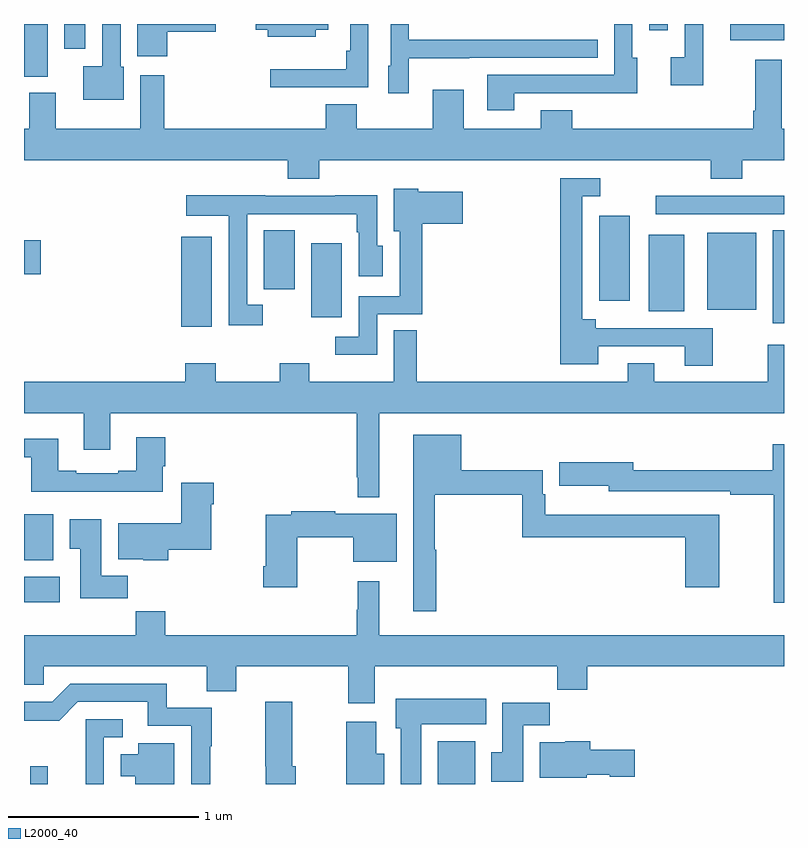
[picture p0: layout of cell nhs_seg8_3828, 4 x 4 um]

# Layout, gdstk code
import gdstk
lib = gdstk.Library(unit=1e-6, precision=1e-09)
def R(c, l, rs):  # rectangles x0, y0, x1, y1
    for r in rs: c.add(gdstk.rectangle(r[:2], r[2:], *l))
def P(c, l, *ps):  # polygons
    for p in ps: c.add(gdstk.Polygon(p, *l))
L2000_40 = (2000, 40)

nhs_seg8_3828 = lib.new_cell('nhs_seg8_3828')
R(nhs_seg8_3828, L2000_40, [(347.032,1095.9,347.126,1095.993), (349.178,1095.9,349.375,1096.126), (347,1096.856,347.188,1096.99), (347,1097.078,347.155,1097.32), (347.828,1098.306,347.989,1098.781), (350.942,1098.324,351,1098.815), (348.512,1098.356,348.673,1098.745), (350.288,1098.389,350.476,1098.79), (350.597,1098.395,350.854,1098.802), (350.027,1098.444,350.188,1098.892), (348.263,1098.504,348.424,1098.815), (347,1098.584,347.089,1098.762), (350.325,1098.9,351,1098.996), (347,1099.622,347.125,1099.9), (347.213,1099.77,347.323,1099.9), (350.717,1099.814,351,1099.9), (350.292,1099.866,350.388,1099.9)])
P(nhs_seg8_3828, L2000_40, [(349.579,1099.536),(350.009,1099.536),(350.009,1099.535),(350.227,1099.535),(350.227,1099.722),(350.202,1099.722),(350.202,1099.9),(350.106,1099.9),(350.106,1099.632),(349.439,1099.632),(349.439,1099.446),(349.579,1099.446)],
  [(348.535,1099.871),(348.601,1099.871),(348.601,1099.9),(348.221,1099.9),(348.221,1099.871),(348.284,1099.871),(348.284,1099.832),(348.535,1099.832)],
  [(348.813,1099.9),(348.717,1099.9),(348.717,1099.759),(348.697,1099.759),(348.697,1099.663),(348.297,1099.663),(348.297,1099.566),(348.813,1099.566)],
  [(350.575,1099.9),(350.478,1099.9),(350.478,1099.726),(350.403,1099.726),(350.403,1099.578),(350.575,1099.578)],
  [(347.754,1099.859),(348.01,1099.859),(348.01,1099.9),(347.597,1099.9),(347.597,1099.731),(347.754,1099.731)],
  [(349.026,1099.721),(349.343,1099.721),(349.343,1099.722),(350.021,1099.722),(350.021,1099.818),(349.026,1099.818),(349.026,1099.9),(348.93,1099.9),(348.93,1099.68),(348.917,1099.68),(348.917,1099.536),(349.026,1099.536)],
  [(347.524,1099.674),(347.508,1099.674),(347.508,1099.9),(347.412,1099.9),(347.412,1099.678),(347.312,1099.678),(347.312,1099.502),(347.524,1099.502)],
  [(348.554,1099.184),(350.615,1099.184),(350.615,1099.085),(350.78,1099.085),(350.78,1099.184),(351,1099.184),(351,1099.348),(350.989,1099.348),(350.989,1099.711),(350.849,1099.711),(350.849,1099.444),(350.837,1099.444),(350.837,1099.348),(349.885,1099.348),(349.885,1099.447),(349.721,1099.447),(349.721,1099.348),(349.315,1099.348),(349.315,1099.555),(349.151,1099.555),(349.151,1099.348),(348.751,1099.348),(348.751,1099.477),(348.587,1099.477),(348.587,1099.348),(347.738,1099.348),(347.738,1099.63),(347.612,1099.63),(347.612,1099.348),(347.167,1099.348),(347.167,1099.537),(347.027,1099.537),(347.027,1099.348),(347,1099.348),(347,1099.184),(348.389,1099.184),(348.389,1099.085),(348.554,1099.085)],
  [(350.625,1098.3),(350.008,1098.3),(350.008,1098.346),(349.938,1098.346),(349.938,1098.993),(350.032,1098.993),(350.032,1099.089),(349.822,1099.089),(349.822,1098.11),(350.023,1098.11),(350.023,1098.204),(350.477,1098.204),(350.477,1098.102),(350.625,1098.102)],
  [(348.858,1098.372),(349.096,1098.372),(349.096,1098.848),(349.309,1098.848),(349.309,1099.018),(349.074,1099.018),(349.074,1099.033),(348.947,1099.033),(348.947,1098.809),(348.977,1098.809),(348.977,1098.468),(348.762,1098.468),(348.762,1098.255),(348.639,1098.255),(348.639,1098.158),(348.858,1098.158)],
  [(348.256,1098.423),(348.174,1098.423),(348.174,1098.9),(348.52,1098.9),(348.52,1098.899),(348.75,1098.899),(348.75,1098.803),(348.762,1098.803),(348.762,1098.573),(348.889,1098.573),(348.889,1098.732),(348.858,1098.732),(348.858,1098.998),(348.637,1098.998),(348.637,1098.996),(348.271,1098.996),(348.271,1098.998),(347.853,1098.998),(347.853,1098.89),(348.078,1098.89),(348.078,1098.315),(348.256,1098.315)],
  [(348.871,1097.852),(351,1097.852),(351,1098.211),(350.914,1098.211),(350.914,1098.016),(350.317,1098.016),(350.317,1098.115),(350.177,1098.115),(350.177,1098.016),(349.066,1098.016),(349.066,1098.287),(348.947,1098.287),(348.947,1098.016),(348.501,1098.016),(348.501,1098.115),(348.346,1098.115),(348.346,1098.016),(348.009,1098.016),(348.009,1098.115),(347.849,1098.115),(347.849,1098.016),(347,1098.016),(347,1097.852),(347.315,1097.852),(347.315,1097.658),(347.455,1097.658),(347.455,1097.852),(348.75,1097.852),(348.75,1097.515),(348.756,1097.515),(348.756,1097.408),(348.871,1097.408)],
  [(349.171,1097.133),(349.163,1097.133),(349.163,1097.422),(349.623,1097.422),(349.623,1097.2),(350.48,1097.2),(350.48,1096.935),(350.658,1096.935),(350.658,1097.316),(349.982,1097.316),(349.982,1097.317),(349.744,1097.317),(349.744,1097.424),(349.731,1097.424),(349.731,1097.551),(349.3,1097.551),(349.3,1097.737),(349.049,1097.737),(349.049,1096.809),(349.171,1096.809)],
  [(347.731,1097.572),(347.744,1097.572),(347.744,1097.725),(347.591,1097.725),(347.591,1097.548),(347.495,1097.548),(347.495,1097.535),(347.275,1097.535),(347.275,1097.548),(347.179,1097.548),(347.179,1097.716),(347,1097.716),(347,1097.619),(347.039,1097.619),(347.039,1097.438),(347.731,1097.438)],
  [(351,1097.689),(350.942,1097.689),(350.942,1097.551),(350.206,1097.551),(350.206,1097.593),(349.818,1097.593),(349.818,1097.471),(350.078,1097.471),(350.078,1097.442),(350.716,1097.442),(350.716,1097.422),(350.947,1097.422),(350.947,1096.854),(351,1096.854)],
  [(347.759,1097.132),(347.986,1097.132),(347.986,1097.372),(347.999,1097.372),(347.999,1097.485),(347.828,1097.485),(347.828,1097.272),(347.495,1097.272),(347.495,1097.084),(347.628,1097.084),(347.628,1097.078),(347.759,1097.078)],
  [(348.438,1097.2),(348.734,1097.2),(348.734,1097.069),(348.961,1097.069),(348.961,1097.323),(348.638,1097.323),(348.638,1097.336),(348.406,1097.336),(348.406,1097.316),(348.272,1097.316),(348.272,1097.047),(348.26,1097.047),(348.26,1096.935),(348.438,1096.935)],
  [(347.546,1096.996),(347.407,1096.996),(347.407,1097.293),(347.24,1097.293),(347.24,1097.137),(347.297,1097.137),(347.297,1096.878),(347.546,1096.878)],
  [(348.847,1096.52),(349.807,1096.52),(349.807,1096.396),(349.964,1096.396),(349.964,1096.52),(351,1096.52),(351,1096.684),(348.871,1096.684),(348.871,1096.966),(348.757,1096.966),(348.757,1096.817),(348.75,1096.817),(348.75,1096.684),(347.744,1096.684),(347.744,1096.808),(347.587,1096.808),(347.587,1096.684),(347,1096.684),(347,1096.422),(347.103,1096.422),(347.103,1096.52),(347.963,1096.52),(347.963,1096.387),(348.116,1096.387),(348.116,1096.52),(348.707,1096.52),(348.707,1096.326),(348.847,1096.326)],
  [(347.981,1096.099),(347.989,1096.099),(347.989,1096.302),(347.75,1096.302),(347.75,1096.428),(347.244,1096.428),(347.148,1096.332),(347,1096.332),(347,1096.234),(347.185,1096.234),(347.283,1096.332),(347.651,1096.332),(347.651,1096.206),(347.88,1096.206),(347.88,1095.9),(347.981,1095.9)],
  [(349.09,1096.214),(349.432,1096.214),(349.432,1096.348),(348.956,1096.348),(348.956,1096.194),(348.983,1096.194),(348.983,1095.9),(349.09,1095.9)],
  [(348.43,1095.993),(348.412,1095.993),(348.412,1096.333),(348.271,1096.333),(348.271,1095.993),(348.272,1095.993),(348.272,1095.9),(348.43,1095.9)],
  [(349.627,1096.208),(349.766,1096.208),(349.766,1096.327),(349.517,1096.327),(349.517,1096.068),(349.46,1096.068),(349.46,1095.912),(349.627,1095.912)],
  [(347.421,1096.146),(347.521,1096.146),(347.521,1096.242),(347.324,1096.242),(347.324,1095.9),(347.421,1095.9)],
  [(348.895,1096.06),(348.853,1096.06),(348.853,1096.228),(348.695,1096.228),(348.695,1095.9),(348.895,1095.9)],
  [(349.962,1095.95),(350.082,1095.95),(350.082,1095.938),(350.215,1095.938),(350.215,1096.08),(349.979,1096.08),(349.979,1096.126),(349.848,1096.126),(349.848,1096.12),(349.715,1096.12),(349.715,1095.932),(349.962,1095.932)],
  [(347.791,1096.114),(347.6,1096.114),(347.6,1096.057),(347.51,1096.057),(347.51,1095.941),(347.585,1095.941),(347.585,1095.9),(347.791,1095.9)])

lib.write_gds('nhs_seg8_3828.gds')
